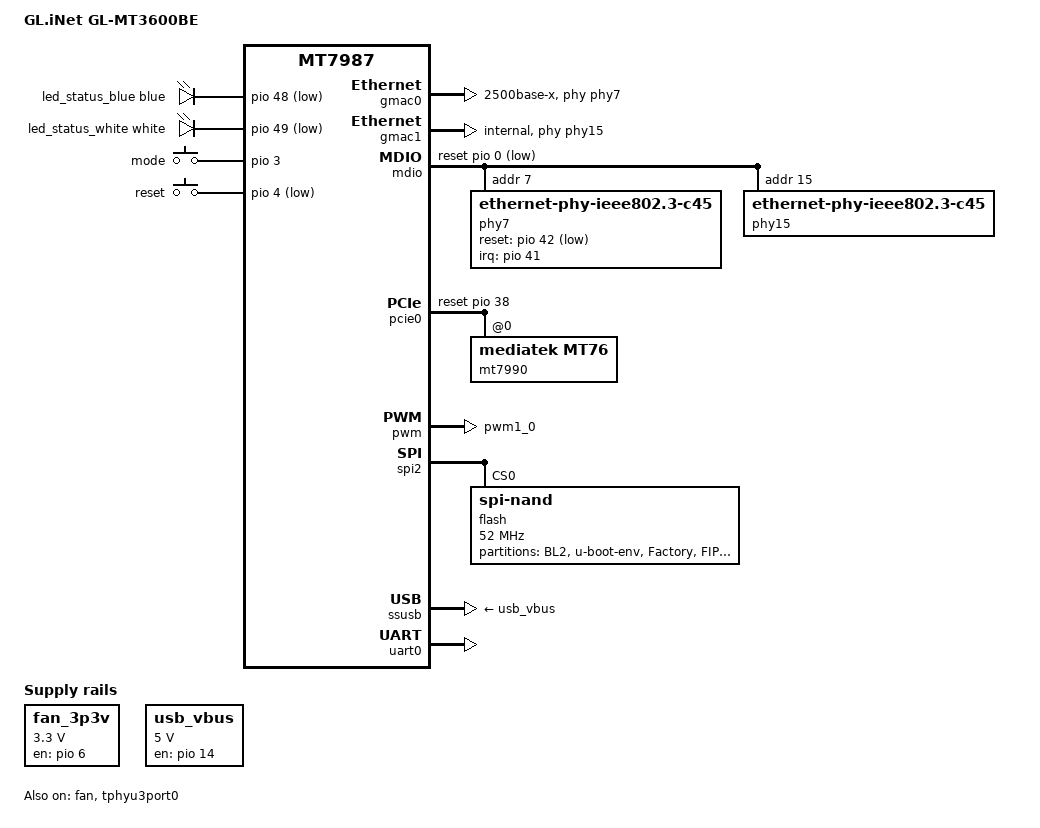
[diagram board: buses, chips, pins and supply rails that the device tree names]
// SPDX-License-Identifier: GPL-2.0-or-later OR MIT
/*
 * Copyright (C) 2026 Tianling Shen <cnsztl@immortalwrt.org>
 */

/dts-v1/;
#include <dt-bindings/input/input.h>
#include <dt-bindings/leds/common.h>

#include "mt7987a.dtsi"

/ {
	model = "GL.iNet GL-MT3600BE";
	compatible = "glinet,gl-mt3600be", "mediatek,mt7987a", "mediatek,mt7987";

	aliases {
		serial0 = &uart0;
		label-mac-device = &gmac0;
		led-boot = &led_status_white;
		led-failsafe = &led_status_blue;
		led-running = &led_status_blue;
		led-upgrade = &led_status_blue;
	};

	chosen {
		bootargs = "console=ttyS0,115200n1 earlycon=uart8250,mmio32,0x11000000 pci=pcie_bus_perf";
		stdout-path = "serial0:115200n8";
	};

	gpio-leds {
		compatible = "gpio-leds";

		led_status_blue: led-0 {
			color = <LED_COLOR_ID_BLUE>;
			function = LED_FUNCTION_STATUS;
			gpios = <&pio 48 GPIO_ACTIVE_LOW>;
		};

		led_status_white: led-1 {
			color = <LED_COLOR_ID_WHITE>;
			function = LED_FUNCTION_STATUS;
			gpios = <&pio 49 GPIO_ACTIVE_LOW>;
		};
	};

	gpio-keys {
		compatible = "gpio-keys";

		button-mode {
			label = "mode";
			linux,code = <BTN_0>;
			linux,input-type = <EV_SW>;
			gpios = <&pio 3 GPIO_ACTIVE_HIGH>;
			debounce-interval = <10>;
		};

		button-reset {
			label = "reset";
			linux,code = <KEY_RESTART>;
			gpios = <&pio 4 GPIO_ACTIVE_LOW>;
			debounce-interval = <10>;
		};
	};

	fan_3p3v: regulator-fan-3p3v {
		compatible = "regulator-fixed";
		enable-active-high;
		gpios = <&pio 6 GPIO_ACTIVE_HIGH>;
		regulator-name = "fan";
		regulator-min-microvolt = <3300000>;
		regulator-max-microvolt = <3300000>;
	};

	usb_vbus: regulator-usb-vbus {
		compatible = "regulator-fixed";
		enable-active-high;
		gpios = <&pio 14 GPIO_ACTIVE_HIGH>;
		regulator-name = "usb_vbus";
		regulator-boot-on;
		regulator-min-microvolt = <5000000>;
		regulator-max-microvolt = <5000000>;
	};
};

&fan {
	fan-supply = <&fan_3p3v>;
	interrupt-parent = <&pio>;
	interrupts = <5 IRQ_TYPE_EDGE_RISING>;
	pwms = <&pwm 1 50000 0>;
	status = "okay";
};

&gmac0 {
	nvmem-cells = <&macaddr_factory_4000 0>;
	nvmem-cell-names = "mac-address";
	phy-handle = <&phy7>;
	phy-mode = "2500base-x";
	status = "okay";
};

&gmac1 {
	nvmem-cells = <&macaddr_factory_4000 1>;
	nvmem-cell-names = "mac-address";
	phy-handle = <&phy15>;
	phy-mode = "internal";
	status = "okay";
};

&mdio {
	reset-delay-us = <10000>;
	reset-gpios = <&pio 0 GPIO_ACTIVE_LOW>;

	phy7: phy@7 {
		compatible = "ethernet-phy-ieee802.3-c45";
		reg = <7>;
		interrupt-parent = <&pio>;
		interrupts = <41 IRQ_TYPE_LEVEL_LOW>;
		reset-assert-us = <100000>;
		reset-deassert-us = <100000>;
		reset-gpios = <&pio 42 GPIO_ACTIVE_LOW>;
	};

	phy15: phy@f {
		compatible = "ethernet-phy-ieee802.3-c45";
		reg = <15>;
		pinctrl-names = "i2p5gbe-led";
		pinctrl-0 = <&i2p5gbe_led0_pins>;
	};
};

&pcie0 {
	pinctrl-names = "default";
	pinctrl-0 = <&pcie0_pins>;
	reset-gpios = <&pio 38 GPIO_ACTIVE_HIGH>;
	status = "okay";

	pcie@0,0 {
		reg = <0x0000 0 0 0 0>;

		mt7990@0,0 {
			compatible = "mediatek,mt76";
			reg = <0x0000 0 0 0 0>;
			#address-cells = <1>;
			#size-cells = <0>;

			device_type = "pci";

			ieee80211-freq-limit = <2400000 2500000>,
					       <5170000 5835000>;

			nvmem-cells = <&eeprom_factory_0>;
			nvmem-cell-names = "eeprom";

			band@0 {
				reg = <0>;
				nvmem-cells = <&macaddr_factory_4006 0>;
				nvmem-cell-names = "mac-address";
			};

			band@1 {
				reg = <1>;
				nvmem-cells = <&macaddr_factory_4006 1>;
				nvmem-cell-names = "mac-address";
			};
		};
	};
};

&pio {
	pwm1_pins: pwm1-pins {
		mux {
			function = "pwm";
			groups = "pwm1_0";
		};
	};
};

&pwm {
	pinctrl-names = "default";
	pinctrl-0 = <&pwm1_pins>;
	status = "okay";
};

&spi2 {
	pinctrl-names = "default";
	pinctrl-0 = <&spi2_flash_pins>;
	status = "okay";

	flash@0 {
		compatible = "spi-nand";
		reg = <0>;

		spi-cal-enable;
		spi-cal-mode = "read-data";
		spi-cal-datalen = <7>;
		spi-cal-data = /bits/ 8 <0x53 0x50 0x49 0x4e 0x41 0x4e 0x44>;
		spi-cal-addrlen = <5>;
		spi-cal-addr = /bits/ 32 <0x0 0x0 0x0 0x0 0x0>;

		spi-max-frequency = <52000000>;
		spi-tx-bus-width = <4>;
		spi-rx-bus-width = <4>;

		mediatek,nmbm;
		mediatek,bmt-max-ratio = <1>;
		mediatek,bmt-max-reserved-blocks = <256>;

		partitions {
			compatible = "fixed-partitions";
			#address-cells = <1>;
			#size-cells = <1>;

			partition@0 {
				label = "BL2";
				reg = <0x0 0x100000>;
				read-only;
			};

			partition@100000 {
				label = "u-boot-env";
				reg = <0x100000 0x80000>;
			};

			partition@180000 {
				label = "Factory";
				reg = <0x180000 0x400000>;
				read-only;

				nvmem-layout {
					compatible = "fixed-layout";
					#address-cells = <1>;
					#size-cells = <1>;

					eeprom_factory_0: eeprom@0 {
						reg = <0x0 0x1e00>;
					};

					macaddr_factory_4000: macaddr@4000 {
						compatible = "mac-base";
						reg = <0x4000 0x6>;
						#nvmem-cell-cells = <1>;
					};

					macaddr_factory_4006: macaddr@4006 {
						compatible = "mac-base";
						reg = <0x4006 0x6>;
						#nvmem-cell-cells = <1>;
					};
				};
			};

			partition@580000 {
				label = "FIP";
				reg = <0x580000 0x200000>;
				read-only;
			};

			partition@780000 {
				label = "log";
				reg = <0x780000 0x40000>;
				read-only;
			};

			partition@7c0000 {
				label = "CFG";
				reg = <0x7c0000 0x40000>;
				read-only;
			};

			partition@800000 {
				label = "ubi";
				reg = <0x800000 0x1d800000>;
				compatible = "linux,ubi";
			};
		};
	};
};

&ssusb {
	vbus-supply = <&usb_vbus>;
	status = "okay";
};

&tphyu3port0 {
	status = "okay";
};

&uart0 {
	pinctrl-names = "default";
	pinctrl-0 = <&uart0_pins>;
	status = "okay";
};
